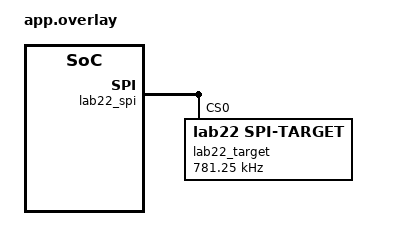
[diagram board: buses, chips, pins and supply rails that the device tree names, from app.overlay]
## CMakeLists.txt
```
cmake_minimum_required(VERSION 3.20.0)

# Allow Zephyr to find this lab's local DT binding
list(APPEND DTS_ROOT "${CMAKE_CURRENT_SOURCE_DIR}")

find_package(Zephyr REQUIRED HINTS $ENV{ZEPHYR_BASE})

project(lab22_spi_command_read_zephyr LANGUAGES C)

target_sources(app PRIVATE
	src/main.c
	src/spi_command.c
	drivers/clock_control/lab22_fixed_clock.c
)

target_include_directories(app PRIVATE
	"${CMAKE_CURRENT_SOURCE_DIR}/src"
)
```

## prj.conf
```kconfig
#
# SPI
#
CONFIG_SPI=y
CONFIG_SPI_PL022=y

#
# This exercise uses synchronous polling
#
CONFIG_SPI_PL022_INTERRUPT=n
CONFIG_SPI_PL022_DMA=n
CONFIG_SPI_ASYNC=n

#
# Required by the PL022 clock path
#
CONFIG_CLOCK_CONTROL=y
CONFIG_CLOCK_CONTROL_FIXED_RATE_CLOCK=y
CONFIG_PINCTRL=y

#
# SPI is owned by this lab
#
CONFIG_CONSOLE=n
CONFIG_PRINTK=n
CONFIG_LOG=n
CONFIG_SERIAL=n

#
# Debug-friendly build
#
CONFIG_DEBUG=y
CONFIG_NO_OPTIMIZATIONS=y
CONFIG_ASSERT=y

#
# Runtime
#
CONFIG_MAIN_STACK_SIZE=2048
```

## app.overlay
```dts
/*
* MPS2/AN385 PL022 Shield0, the same 0x40026000 block as SDK MPS2_SSP3.
*/
/ {
    lab22_clock: lab22-clock {
        compatible = "lab22,pl022-clock";

        #clock-cells = <1>;

        clock-frequency = <25000000>;

        status = "okay";
    };
};

/* The CMSDK GPIO driver requires a clock when clock control is enabled. */
&gpio0 {
    clocks = <&sysclk>;
};

&{/soc} {
    lab22_spi: spi@40026000 {
        compatible = "arm,pl022";

        reg = <0x40026000 0x1000>;
        clocks = <&lab22_clock 0>;

        interrupts = <24 3>;

        pinctrl-0 = <&spi0_default>;
        pinctrl-names = "default";

        #address-cells = <1>;
        #size-cells = <0>;

        status = "okay";

        lab22_target: target@0 {
            compatible = "lab22,spi-target";

            reg = <0>;
            spi-max-frequency = <781250>;

            status = "okay";
        };
    };
};
```

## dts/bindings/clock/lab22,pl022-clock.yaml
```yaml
description: Lab22 fixed-rate PL022 clock adapter
compatible: "lab22,pl022-clock"

include: 
  - base.yaml
  - clock-controller.yaml

properties:
  "#clock-cells":
    const: 1

  clock-frequency:
    type: int
    required: true

clock-cells:
  - clk_id
```

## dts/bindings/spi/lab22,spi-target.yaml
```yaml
description: Lab22 SPI command target configuration (not a sensor emulator)
compatible: "lab22,spi-target"
include: spi-device.yaml
on-bus: spi
```

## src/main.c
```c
/*
 * Real Zephyr SPI -> PL022 MMIO INTERNAL LOOPBACK test, not a sensor model
 */

#include "spi_command.h"

#include <errno.h>
#include <string.h>

#include <zephyr/devicetree.h>
#include <zephyr/kernel.h>
#include <zephyr/sys/sys_io.h>
#include <zephyr/sys/util.h>

#define TARGET_NODE DT_NODELABEL(lab22_target)
#define BUS_NODE    DT_BUS(TARGET_NODE)

#define NOT_RUN     (-999)
#define COMMAND     0x9fU
#define SHORT_REPLY 3U
#define FILL        0xccU

BUILD_ASSERT(DT_NODE_HAS_STATUS(TARGET_NODE, okay), "lab22_target must be enabled");
BUILD_ASSERT(DT_REG_ADDR(BUS_NODE) == 0x40026000U, "This is lab's MPS2 Shield0 mapping is 0x40026000");
BUILD_ASSERT(SPI_COMMAND_MAX_REPLY >= SHORT_REPLY, "Reply limit too small");

/* Current Zephyr API */
static const struct spi_config g_spi_config = SPI_CONFIG_DT(TARGET_NODE,
	            SPI_OP_MODE_CONTROLLER | SPI_TRANSFER_MSB | SPI_WORD_SET(8) | SPI_MODE_LOOP);

static const struct spi_client g_sensor = {
    .bus = DEVICE_DT_GET(BUS_NODE),
    .config = &g_spi_config,
};

/* Application owns the receive buffer, not the helper */
static uint8_t g_storage[SPI_COMMAND_MAX_REPLY + 2U];

enum lab22_stage {
    LAB22_STAGE_RESET = 0,
    LAB22_STAGE_READY,
    LAB22_STAGE_SHORT_REPLY,
    LAB22_STAGE_MAX_REPLY,
    LAB22_STAGE_INVALID_ARGS,
    LAB22_STAGE_DONE,
    LAB22_STAGE_ERROR,
};

volatile enum lab22_stage g_lab22_stage;
volatile enum lab22_stage g_lab22_failed_stage;

volatile int g_ready_rc = NOT_RUN;
volatile int g_short_rc = NOT_RUN;
volatile int g_max_rc = NOT_RUN;

volatile int g_null_rc = NOT_RUN;
volatile int g_zero_rc = NOT_RUN;
volatile int g_oversize_rc = NOT_RUN;

volatile int g_short_check = NOT_RUN;
volatile int g_max_check = NOT_RUN;
volatile int g_invalid_check = NOT_RUN;

volatile uintptr_t g_spi_mmio_base;
volatile uint32_t g_spi_cr0;
volatile uint32_t g_spi_cr1;
volatile uint32_t g_spi_cpsr;

volatile uint8_t g_command;

volatile uint8_t g_short_reply[SHORT_REPLY];
volatile uint8_t g_max_reply[SPI_COMMAND_MAX_REPLY];

__attribute__((noinline))
void lab22_checkpoint(void) {
    __asm__ volatile ("nop");
}

static void lab22_fail(void) {
    g_lab22_failed_stage = g_lab22_stage;
    g_lab22_stage = LAB22_STAGE_ERROR;

    lab22_checkpoint();

    for (;;) {
       k_sleep(K_FOREVER);
    }
}

static void prepare_storage(void) {
    memset(g_storage, FILL, sizeof(g_storage));

    g_storage[0] = 0xa5U;
    g_storage[sizeof(g_storage) - 1U] = 0x5aU;
}

static int verify_storage(size_t len) {
    if (g_storage[0] != 0xa5U || g_storage[sizeof(g_storage) - 1U] != 0x5aU)
        return -1;

    for (size_t i = 0U; i < SPI_COMMAND_MAX_REPLY; ++i) {
	/* PL022 internal loopback */
        if (g_storage[i + 1U] != (i < len ? 0x00U : FILL)) {
	    return -1;
	}
    }

    return 0;
}

int main(void) {
    g_lab22_stage = LAB22_STAGE_RESET;

    g_spi_mmio_base = DT_REG_ADDR(BUS_NODE);
    g_command = COMMAND;

    /* Test1. Validate client */
    g_lab22_stage = LAB22_STAGE_READY;
    lab22_checkpoint();

    g_ready_rc = spi_client_ready(&g_sensor);

    if (g_ready_rc != 0)
	lab22_fail();

    /* Test2. Read three reply bytes */
    g_lab22_stage = LAB22_STAGE_SHORT_REPLY;
    prepare_storage();
    lab22_checkpoint();

    g_short_rc = spi_command_read(&g_sensor, COMMAND, &g_storage[1], SHORT_REPLY);
    g_short_check = verify_storage(SHORT_REPLY);

    for (size_t i = 0U; i < SHORT_REPLY; ++i) 
	g_short_reply[i] = g_storage[i + 1U];

    /* Configuration/status registers are safe for observation */
    g_spi_cr0 = sys_read32(g_spi_mmio_base + 0x00U);
    g_spi_cr1 = sys_read32(g_spi_mmio_base + 0x04U);
    g_spi_cpsr = sys_read32(g_spi_mmio_base + 0x10U);

    if (g_short_rc != 0 || g_short_check != 0 || (g_spi_cr1 & 3U) != 3U)
	lab22_fail();

    /* Test3. Maximum allowed reply */
    g_lab22_stage = LAB22_STAGE_MAX_REPLY;
    prepare_storage();
    lab22_checkpoint();

    g_max_rc = spi_command_read(&g_sensor, COMMAND, &g_storage[1], SPI_COMMAND_MAX_REPLY);

    g_max_check = verify_storage(SPI_COMMAND_MAX_REPLY);

    for (size_t i = 0U; i < SPI_COMMAND_MAX_REPLY; ++i) {
        g_max_reply[i] = g_storage[i + 1U];
    }

    if (g_max_rc != 0 || g_max_check != 0)
	lab22_fail();

    /* Test4. Argument/reply-size checks */
    g_lab22_stage = LAB22_STAGE_INVALID_ARGS;
    prepare_storage();
    lab22_checkpoint();

    g_null_rc = spi_command_read(&g_sensor, COMMAND, NULL, 1U);
    g_zero_rc = spi_command_read(&g_sensor, COMMAND, &g_storage[1], 0U);
    g_oversize_rc = spi_command_read(&g_sensor, COMMAND, &g_storage[1], SPI_COMMAND_MAX_REPLY + 1U);

    g_invalid_check = verify_storage(0U);

    if (g_null_rc != -EINVAL || g_zero_rc != -EINVAL || g_oversize_rc != -EMSGSIZE || g_invalid_check != 0)
	lab22_fail();

    /* Success */
    g_lab22_stage = LAB22_STAGE_DONE;
    lab22_checkpoint();

    for(;;) {
        k_sleep(K_FOREVER);
    }

    return 0;
}
```

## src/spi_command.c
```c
#include "spi_command.h"

#include <errno.h>
#include <stdbool.h>
#include <stdint.h>

#include <zephyr/drivers/gpio.h>

int spi_client_ready(const struct spi_client *client) {
    if (client == NULL || client->bus == NULL || client->config == NULL)
	return -EINVAL;

    const struct spi_config *config = client->config;
    const spi_operation_t operation = config->operation;

    if (config->frequency == 0U)
	return -EINVAL;

    /* supported operations */
    const uint32_t allowed = SPI_WORD_SET(8) | SPI_MODE_CPOL | SPI_MODE_CPHA | SPI_MODE_LOOP | SPI_CS_ACTIVE_HIGH;

    if (SPI_OP_MODE_GET(operation) != SPI_OP_MODE_CONTROLLER)
	return -ENOTSUP;

    if (SPI_WORD_SIZE_GET(operation) != 8U || ((uint32_t)operation & ~allowed) != 0U)
	return -ENOTSUP;

    if ((operation & SPI_HALF_DUPLEX) != 0U)
        return -ENOTSUP; 

    if ((operation & SPI_FRAME_FORMAT_TI) != 0U)
	return -ENOTSUP;

    if ((operation & SPI_HOLD_ON_CS) != 0U ||
	(operation & SPI_LOCK_ON) != 0U) {
        return -ENOTSUP;
    }

    if (!device_is_ready(client->bus))
	return -ENODEV;

    /* GPIO CS is optional */
    if (spi_cs_is_gpio(config)) {
        if (config->cs.gpio.port == NULL)
            return -EINVAL;

	if (!gpio_is_ready_dt(&config->cs.gpio))
            return -ENODEV;

	const bool gpio_active_low = (config->cs.gpio.dt_flags & GPIO_ACTIVE_LOW) != 0U;

	const bool gpio_active_high = (operation & SPI_CS_ACTIVE_HIGH) != 0U;

	if (gpio_active_low == gpio_active_high)
            return -EINVAL;
    } else if ((operation & SPI_MODE_LOOP) == 0U) {
        return -ENOTSUP;
    }

    return 0;
}


int spi_command_read(const struct spi_client *client, uint8_t command, uint8_t *reply, size_t reply_len) {
    if (reply == NULL || reply_len == 0U) 
	return -EINVAL;

    if (reply_len > SPI_COMMAND_MAX_REPLY)
	return -EMSGSIZE;

    const int rc = spi_client_ready(client);

    if (rc != 0)
	return rc;

    const struct spi_buf tx[] = {
        { .buf = &command, .len = 1U },
	{ .buf = NULL, .len = reply_len }, /* Transmit zero dummy bytes */
    };

    const struct spi_buf rx[] = {
        { .buf = NULL, .len = 1U }, /* Discard command-phase RX */
        { .buf = reply, .len = reply_len},
    };

    const struct spi_buf_set tx_set = {
        .buffers = tx,
	.count = 2U,
    };

    const struct spi_buf_set rx_set = {
        .buffers = rx,
	.count = 2U,
    };

    /* Synchronous call */
    return spi_transceive(client->bus, client->config, &tx_set, &rx_set);
}
```

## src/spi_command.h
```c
#ifndef LAB22_SPI_COMMAND_H
#define LAB22_SPI_COMMAND_H

#include <stddef.h>
#include <stdint.h>

#include <zephyr/device.h>
#include <zephyr/drivers/spi.h>

#define SPI_COMMAND_MAX_REPLY 16U

/*
 * Application-owned, immutable config must remain valid across transfers
 */
struct spi_client {
    const struct device *bus;
    const struct spi_config *config;
};

int spi_client_ready(const struct spi_client *client);

int spi_command_read(const struct spi_client *client, uint8_t command, uint8_t *reply, size_t reply_len);

#endif
```
